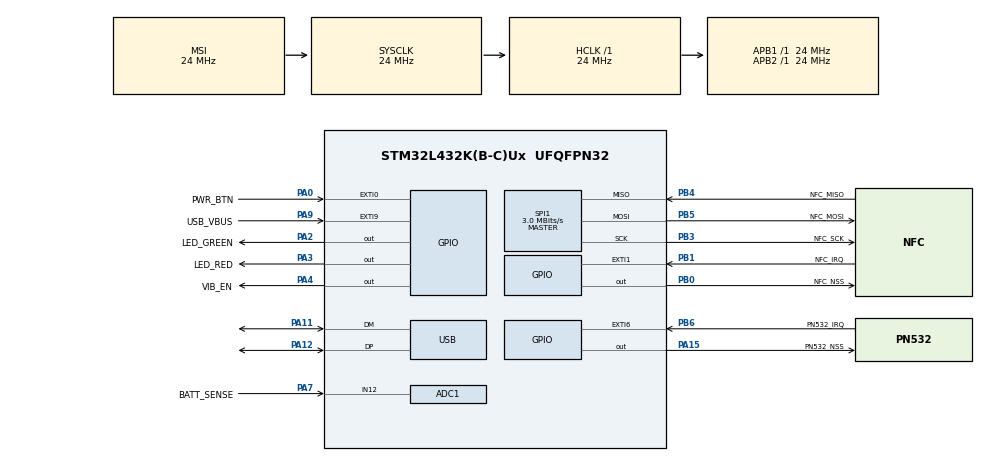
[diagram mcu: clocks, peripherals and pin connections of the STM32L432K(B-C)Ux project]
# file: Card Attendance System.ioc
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ADC1.Channel-0\#ChannelRegularConversion=ADC_CHANNEL_12
ADC1.ClockPrescaler=ADC_CLOCK_SYNC_PCLK_DIV4
ADC1.NbrOfConversion=1
ADC1.OffsetNumber-0\#ChannelRegularConversion=ADC_OFFSET_NONE
ADC1.Rank-0\#ChannelRegularConversion=1
ADC1.Resolution=ADC_RESOLUTION_12B
ADC1.SamplingTime-0\#ChannelRegularConversion=ADC_SAMPLETIME_640CYCLES_5
ADC1.master=1
LPTIM1.ClockPrescaler=LPTIM_PRESCALER_DIV8
LPTIM2.ClockPrescaler=LPTIM_PRESCALER_DIV1
Mcu.Family=STM32L4
Mcu.Name=STM32L432K(B-C)Ux
Mcu.Package=UFQFPN32
NVIC.EXTI0_IRQn=true\:7\:0\:false\:false\:false\:false\:false\:false
NVIC.EXTI1_IRQn=true\:7\:0\:false\:false\:false\:false\:false\:false
NVIC.EXTI9_5_IRQn=true\:7\:0\:false\:false\:false\:false\:false\:false
NVIC.LPTIM1_IRQn=true\:6\:0\:false\:false\:false\:false\:false\:false
NVIC.LPTIM2_IRQn=true\:6\:0\:false\:false\:false\:false\:false\:false
NVIC.PVD_PVM_IRQn=true\:4\:0\:false\:false\:false\:false\:false\:false
NVIC.PriorityGroup=NVIC_PRIORITYGROUP_4
PA0.GPIO_Label=PWR_BTN
PA0.GPIO_ModeDefaultEXTI=GPIO_MODE_IT_FALLING
PA0.GPIO_PuPd=GPIO_PULLUP
PA0.Signal=GPXTI0
PA11.Mode=Device
PA11.Signal=USB_DM
PA12.Mode=Device
PA12.Signal=USB_DP
PA13\ (JTMS-SWDIO).Mode=Serial_Wire
PA13\ (JTMS-SWDIO).Signal=SYS_JTMS-SWDIO
PA14\ (JTCK-SWCLK).Mode=Serial_Wire
PA14\ (JTCK-SWCLK).Signal=SYS_JTCK-SWCLK
PA15\ (JTDI).GPIO_Label=PN532_NSS
PA15\ (JTDI).PinState=GPIO_PIN_SET
PA15\ (JTDI).Signal=GPIO_Output
PA2.GPIO_Label=LED_GREEN
PA2.Signal=GPIO_Output
PA3.GPIO_Label=LED_RED
PA3.Signal=GPIO_Output
PA4.GPIO_Label=VIB_EN
PA4.Signal=GPIO_Output
PA7.GPIO_Label=BATT_SENSE
PA7.Signal=ADCx_IN12
PA9.GPIO_Label=USB_VBUS
PA9.GPIO_ModeDefaultEXTI=GPIO_MODE_IT_RISING_FALLING
PA9.GPIO_PuPd=GPIO_NOPULL
PA9.Signal=GPXTI9
PB0.GPIO_Label=NFC_NSS
PB0.PinState=GPIO_PIN_SET
PB0.Signal=GPIO_Output
PB1.GPIO_Label=NFC_IRQ
PB1.GPIO_ModeDefaultEXTI=GPIO_MODE_IT_RISING
PB1.GPIO_PuPd=GPIO_PULLDOWN
PB1.Signal=GPXTI1
PB3\ (JTDO-TRACESWO).GPIO_Label=NFC_SCK
PB3\ (JTDO-TRACESWO).Mode=Full_Duplex_Master
PB3\ (JTDO-TRACESWO).Signal=SPI1_SCK
PB4\ (NJTRST).GPIO_Label=NFC_MISO
PB4\ (NJTRST).GPIO_PuPd=GPIO_PULLDOWN
PB4\ (NJTRST).Mode=Full_Duplex_Master
PB4\ (NJTRST).Signal=SPI1_MISO
PB5.GPIO_Label=NFC_MOSI
PB5.Mode=Full_Duplex_Master
PB5.Signal=SPI1_MOSI
PB6.GPIO_Label=PN532_IRQ
PB6.GPIO_ModeDefaultEXTI=GPIO_MODE_IT_FALLING
PB6.GPIO_PuPd=GPIO_PULLUP
PB6.Signal=GPXTI6
PB7.GPIO_Label=PVD_IN
PB7.Mode=Mode_PVD_Ext
PB7.Signal=SYS_PVD_IN
PC14-OSC32_IN\ (PC14).Mode=LSE-External-Oscillator
PC14-OSC32_IN\ (PC14).Signal=RCC_OSC32_IN
PC15-OSC32_OUT\ (PC15).Mode=LSE-External-Oscillator
PC15-OSC32_OUT\ (PC15).Signal=RCC_OSC32_OUT
ProjectManager.HeapSize=0x200
ProjectManager.StackSize=0x400
ProjectManager.TargetToolchain=STM32CubeIDE
RCC.ADCCLockSelection=RCC_ADCCLKSOURCE_SYSCLK
RCC.ADCFreq_Value=24000000
RCC.AHBFreq_Value=24000000
RCC.APB1Freq_Value=24000000
RCC.APB1TimFreq_Value=24000000
RCC.APB2Freq_Value=24000000
RCC.APB2TimFreq_Value=24000000
RCC.CK48CLockSelection=RCC_USBCLKSOURCE_HSI48
RCC.CortexFreq_Value=24000000
RCC.HCLKFreq_Value=24000000
RCC.HSE_VALUE=8000000
RCC.HSI48_VALUE=48000000
RCC.HSI_VALUE=16000000
RCC.LPTIM1CLockSelection=RCC_LPTIM1CLKSOURCE_LSE
RCC.LPTIM2CLockSelection=RCC_LPTIM2CLKSOURCE_LSE
RCC.MSIClockRange=RCC_MSIRANGE_9
RCC.MSI_VALUE=24000000
RCC.PLLN=40
RCC.PLLSAI1N=24
RCC.RTCClockSelection=RCC_RTCCLKSOURCE_LSE
RCC.SYSCLKFreq_VALUE=24000000
RCC.SYSCLKSource=RCC_SYSCLKSOURCE_MSI
RCC.USBFreq_Value=48000000
RCC.VCOOutputFreq_Value=960000000
RTC.AsynchPrediv=127
RTC.HourFormat=RTC_HOURFORMAT_24
RTC.SynchPrediv=255
SH.ADCx_IN12.0=ADC1_IN12,IN12-Single-Ended
SPI1.BaudRatePrescaler=SPI_BAUDRATEPRESCALER_8
SPI1.CLKPhase=SPI_PHASE_2EDGE
SPI1.CLKPolarity=SPI_POLARITY_LOW
SPI1.CRCCalculation=SPI_CRCCALCULATION_DISABLE
SPI1.CalculateBaudRate=3.0 MBits/s
SPI1.DataSize=SPI_DATASIZE_8BIT
SPI1.Direction=SPI_DIRECTION_2LINES
SPI1.FirstBit=SPI_FIRSTBIT_MSB
SPI1.Mode=SPI_MODE_MASTER
SPI1.TIMode=SPI_TIMODE_DISABLE
SPI1.VirtualNSS=VM_NSSSOFT
SPI1.VirtualType=VM_MASTER
SYS.Mode=PWR_PVD_MODE_IT_RISING
TIM1.Period=31
TIM1.Prescaler=0
TIM2.Period=4294967295
TIM2.Prescaler=3
USB.DeviceSpeed=PCD_SPEED_FULL
USB.Sof_enable=DISABLE
USB.battery_charging_enable=DISABLE
USB.low_power_enable=DISABLE
USB.lpm_enable=DISABLE
VP_ADC1_Vref_Input.Mode=IN-Vrefint
VP_LPTIM1_VS_LPTIM_counterModeInternalClock.Mode=Counts__internal_clock_event_00
VP_LPTIM2_VS_LPTIM_counterModeInternalClock.Mode=Counts__internal_clock_event_00
VP_RTC_VS_RTC_Activate.Mode=RTC_Enabled
VP_RTC_VS_RTC_Calendar.Mode=RTC_Calendar
VP_TIM1_VS_ClockSourceINT.Mode=Internal
VP_TIM2_VS_ClockSourceINT.Mode=Internal
board=custom

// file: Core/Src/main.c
/* USER CODE BEGIN Header */
/**
  ******************************************************************************
  * @file           : main.c
  * @brief          : Main program body
  ******************************************************************************
  * @attention
  *
  * Copyright (c) 2026 STMicroelectronics.
  * All rights reserved.
  *
  * This software is licensed under terms that can be found in the LICENSE file
  * in the root directory of this software component.
  * If no LICENSE file comes with this software, it is provided AS-IS.
  *
  ******************************************************************************
  */
/* USER CODE END Header */
#include "main.h"

/* USER CODE BEGIN Includes */
#include "bsp.h"
#include "app_fsm.h"
#include "app_debug.h"
/* USER CODE END Includes */

ADC_HandleTypeDef hadc1;

LPTIM_HandleTypeDef hlptim1;
LPTIM_HandleTypeDef hlptim2;

RTC_HandleTypeDef hrtc;

SPI_HandleTypeDef hspi1;

TIM_HandleTypeDef htim1;
TIM_HandleTypeDef htim2;

PCD_HandleTypeDef hpcd_USB_FS;

/* USER CODE BEGIN PV */

/* Global, volatile state for STM32CubeIDE Live Expressions. Declared in
 * App/Inc/app_debug.h, which documents each one; written by the application
 * (and the reader driver) every pass of the main loop. */

/* Battery */
volatile uint32_t dbg_battery_mv = 0u;
volatile uint8_t  dbg_battery_state = 0u;
volatile uint16_t dbg_battery_counts = 0u;
volatile uint32_t dbg_battery_samples = 0u;
volatile uint8_t  dbg_battery_error = 0u;
volatile uint32_t dbg_battery_raw_mv = 0u;
volatile uint32_t dbg_vdda_mv = 0u;
volatile uint16_t dbg_vrefint_counts = 0u;
volatile uint16_t dbg_vrefint_cal = 0u;
volatile uint8_t  dbg_adc_error = 0u;

/* Last card */
volatile uint32_t dbg_card_id = 0u;
volatile uint8_t  dbg_card_uid[10] = { 0u };
volatile uint8_t  dbg_card_uid_len = 0u;
volatile uint8_t  dbg_card_atqa[2] = { 0u };
volatile uint8_t  dbg_card_sak = 0u;
volatile uint32_t dbg_card_count = 0u;
volatile uint8_t  dbg_scan_result = 0u;

/* Button */
volatile bool     dbg_button_down = false;
volatile uint32_t dbg_button_short_count = 0u;
volatile uint32_t dbg_button_long_count = 0u;

/* Reader */
volatile bool     dbg_nfc_ready = false;
volatile uint8_t  dbg_nfc_chip_id = 0u;
volatile bool     dbg_nfc_supply_3v3 = false;
volatile uint8_t  dbg_nfc_amplitude = 0u;
volatile uint8_t  dbg_nfc_last_status = 0u;
volatile uint32_t dbg_nfc_polls = 0u;
volatile uint32_t dbg_nfc_errors = 0u;
volatile uint32_t dbg_nfc_collisions = 0u;
volatile uint32_t dbg_nfc_last_irq = 0u;
volatile uint32_t dbg_nfc_irq_pin_misses = 0u;
volatile bool     dbg_nfc_armed = false;
volatile uint32_t dbg_nfc_wakeups = 0u;
volatile uint32_t dbg_nfc_false_wakes = 0u;
volatile uint8_t  dbg_nfc_wake_raw = 0u;
volatile uint32_t dbg_nfc_wake_irq = 0u;
volatile int16_t  dbg_nfc_wake_offset = 0;
volatile uint8_t  dbg_nfc_wake_delta = 0u;

/* System */
volatile uint8_t  dbg_state = 0u;
volatile uint8_t  dbg_boot_cause = 0u;
volatile uint32_t dbg_uptime_ms = 0u;
volatile uint32_t dbg_sleep_ms = 0u;
volatile uint8_t  dbg_lptim_fault = 0u;
volatile uint8_t  dbg_pempty_cleared = 0u;
volatile bool     dbg_vbus = false;
volatile bool     dbg_usb_host = false;
volatile uint32_t dbg_records_ram = 0u;
volatile uint32_t dbg_records_flash = 0u;
volatile uint32_t dbg_records_free = 0u;
volatile uint8_t  dbg_battery_percent = 0u;
volatile app_datetime_t dbg_now = { 0u, 0u, 0u, 0u, 0u, 0u };

/* Written from the debugger to set the RTC */
volatile app_datetime_t dbg_set_time = { 0u, 0u, 0u, 0u, 0u, 0u };
volatile bool     dbg_set_time_request = false;

/* USER CODE END PV */

void SystemClock_Config(void);
static void MX_GPIO_Init(void);
static void MX_LPTIM1_Init(void);
static void MX_LPTIM2_Init(void);
static void MX_RTC_Init(void);
static void MX_USB_PCD_Init(void);
static void MX_ADC1_Init(void);
static void MX_SPI1_Init(void);
static void MX_TIM1_Init(void);
static void MX_TIM2_Init(void);

int main(void)
{

  /* USER CODE BEGIN 1 */
  /* Before anything can interrupt: own the vector table and clear a stale
   * "flash is empty" flag. See bsp_early_init(). */
  bsp_early_init();
  /* USER CODE END 1 */

  /* MCU Configuration--------------------------------------------------------*/

  /* Reset of all peripherals, Initializes the Flash interface and the Systick. */
  HAL_Init();

  /* Configure the system clock */
  SystemClock_Config();

  /* Initialize all configured peripherals */
  MX_GPIO_Init();
  MX_LPTIM1_Init();
  MX_LPTIM2_Init();
  MX_RTC_Init();
  MX_USB_PCD_Init();
  MX_ADC1_Init();
  MX_SPI1_Init();
  MX_TIM1_Init();
  MX_TIM2_Init();
  /* USER CODE BEGIN 2 */

  /* Level 1: clocks, pins, RTC, ADC, power. Everything is polled from the
   * main loop; only SysTick and USB interrupt. */
  bsp_init();

#if BSP_POWER_TEST
  /* Bench build: steady loads for a multimeter, no application. */
  bsp_power_test();
#endif

  /* Level 2: the flow chart's "Start" through to the first card poll. */
  app_init();

  /* USER CODE END 2 */

  /* Infinite loop */
  while (1)
  {

    /* USER CODE BEGIN 3 */

    /* One pass: sample the inputs, run the reader, the timers and the
     * feedback pattern, then sleep until the next deadline (Stop 2 when idle
     * on battery). The reader, button, VBUS, USB and LPTIM1 interrupts end
     * the sleep early. */
    app_task();
  }
  /* USER CODE END 3 */
}

void SystemClock_Config(void)
{
  RCC_OscInitTypeDef RCC_OscInitStruct = {0};
  RCC_ClkInitTypeDef RCC_ClkInitStruct = {0};

  /** Configure the main internal regulator output voltage
  */
  if (HAL_PWREx_ControlVoltageScaling(PWR_REGULATOR_VOLTAGE_SCALE1) != HAL_OK)
  {
    Error_Handler();
  }

  /** Configure LSE Drive Capability
  */
  HAL_PWR_EnableBkUpAccess();
  __HAL_RCC_LSEDRIVE_CONFIG(RCC_LSEDRIVE_LOW);

  /** Initializes the RCC Oscillators according to the specified parameters
  * in the RCC_OscInitTypeDef structure.
  */
  RCC_OscInitStruct.OscillatorType = RCC_OSCILLATORTYPE_HSI48|RCC_OSCILLATORTYPE_LSE
                              |RCC_OSCILLATORTYPE_MSI;
  RCC_OscInitStruct.LSEState = RCC_LSE_ON;
  RCC_OscInitStruct.HSI48State = RCC_HSI48_ON;
  RCC_OscInitStruct.MSIState = RCC_MSI_ON;
  RCC_OscInitStruct.MSICalibrationValue = 0;
  RCC_OscInitStruct.MSIClockRange = RCC_MSIRANGE_9;
  RCC_OscInitStruct.PLL.PLLState = RCC_PLL_NONE;
  if (HAL_RCC_OscConfig(&RCC_OscInitStruct) != HAL_OK)
  {
    Error_Handler();
  }

  /** Initializes the CPU, AHB and APB buses clocks
  */
  RCC_ClkInitStruct.ClockType = RCC_CLOCKTYPE_HCLK|RCC_CLOCKTYPE_SYSCLK
                              |RCC_CLOCKTYPE_PCLK1|RCC_CLOCKTYPE_PCLK2;
  RCC_ClkInitStruct.SYSCLKSource = RCC_SYSCLKSOURCE_MSI;
  RCC_ClkInitStruct.AHBCLKDivider = RCC_SYSCLK_DIV1;
  RCC_ClkInitStruct.APB1CLKDivider = RCC_HCLK_DIV1;
  RCC_ClkInitStruct.APB2CLKDivider = RCC_HCLK_DIV1;

  if (HAL_RCC_ClockConfig(&RCC_ClkInitStruct, FLASH_LATENCY_1) != HAL_OK)
  {
    Error_Handler();
  }

  /** Enable MSI Auto calibration
  */
  HAL_RCCEx_EnableMSIPLLMode();
}

static void MX_ADC1_Init(void)
{

  ADC_ChannelConfTypeDef sConfig = {0};

  /** Common config
  */
  hadc1.Instance = ADC1;
  hadc1.Init.ClockPrescaler = ADC_CLOCK_SYNC_PCLK_DIV4;
  hadc1.Init.Resolution = ADC_RESOLUTION_12B;
  hadc1.Init.DataAlign = ADC_DATAALIGN_RIGHT;
  hadc1.Init.ScanConvMode = ADC_SCAN_DISABLE;
  hadc1.Init.EOCSelection = ADC_EOC_SINGLE_CONV;
  hadc1.Init.LowPowerAutoWait = DISABLE;
  hadc1.Init.ContinuousConvMode = DISABLE;
  hadc1.Init.NbrOfConversion = 1;
  hadc1.Init.DiscontinuousConvMode = DISABLE;
  hadc1.Init.ExternalTrigConv = ADC_SOFTWARE_START;
  hadc1.Init.ExternalTrigConvEdge = ADC_EXTERNALTRIGCONVEDGE_NONE;
  hadc1.Init.DMAContinuousRequests = DISABLE;
  hadc1.Init.Overrun = ADC_OVR_DATA_PRESERVED;
  hadc1.Init.OversamplingMode = DISABLE;
  if (HAL_ADC_Init(&hadc1) != HAL_OK)
  {
    Error_Handler();
  }

  /** Configure Regular Channel
  */
  sConfig.Channel = ADC_CHANNEL_12;
  sConfig.Rank = ADC_REGULAR_RANK_1;
  sConfig.SamplingTime = ADC_SAMPLETIME_640CYCLES_5;
  sConfig.SingleDiff = ADC_SINGLE_ENDED;
  sConfig.OffsetNumber = ADC_OFFSET_NONE;
  sConfig.Offset = 0;
  if (HAL_ADC_ConfigChannel(&hadc1, &sConfig) != HAL_OK)
  {
    Error_Handler();
  }

}

static void MX_LPTIM1_Init(void)
{

  hlptim1.Instance = LPTIM1;
  hlptim1.Init.Clock.Source = LPTIM_CLOCKSOURCE_APBCLOCK_LPOSC;
  hlptim1.Init.Clock.Prescaler = LPTIM_PRESCALER_DIV8;
  hlptim1.Init.Trigger.Source = LPTIM_TRIGSOURCE_SOFTWARE;
  hlptim1.Init.OutputPolarity = LPTIM_OUTPUTPOLARITY_HIGH;
  hlptim1.Init.UpdateMode = LPTIM_UPDATE_IMMEDIATE;
  hlptim1.Init.CounterSource = LPTIM_COUNTERSOURCE_INTERNAL;
  hlptim1.Init.Input1Source = LPTIM_INPUT1SOURCE_GPIO;
  hlptim1.Init.Input2Source = LPTIM_INPUT2SOURCE_GPIO;
  if (HAL_LPTIM_Init(&hlptim1) != HAL_OK)
  {
    Error_Handler();
  }

}

static void MX_LPTIM2_Init(void)
{

  hlptim2.Instance = LPTIM2;
  hlptim2.Init.Clock.Source = LPTIM_CLOCKSOURCE_APBCLOCK_LPOSC;
  hlptim2.Init.Clock.Prescaler = LPTIM_PRESCALER_DIV1;
  hlptim2.Init.Trigger.Source = LPTIM_TRIGSOURCE_SOFTWARE;
  hlptim2.Init.OutputPolarity = LPTIM_OUTPUTPOLARITY_HIGH;
  hlptim2.Init.UpdateMode = LPTIM_UPDATE_IMMEDIATE;
  hlptim2.Init.CounterSource = LPTIM_COUNTERSOURCE_INTERNAL;
  hlptim2.Init.Input1Source = LPTIM_INPUT1SOURCE_GPIO;
  hlptim2.Init.Input2Source = LPTIM_INPUT2SOURCE_GPIO;
  if (HAL_LPTIM_Init(&hlptim2) != HAL_OK)
  {
    Error_Handler();
  }

}

static void MX_RTC_Init(void)
{

  RTC_TimeTypeDef sTime = {0};
  RTC_DateTypeDef sDate = {0};

  /** Initialize RTC Only
  */
  hrtc.Instance = RTC;
  hrtc.Init.HourFormat = RTC_HOURFORMAT_24;
  hrtc.Init.AsynchPrediv = 127;
  hrtc.Init.SynchPrediv = 255;
  hrtc.Init.OutPut = RTC_OUTPUT_DISABLE;
  hrtc.Init.OutPutRemap = RTC_OUTPUT_REMAP_NONE;
  hrtc.Init.OutPutPolarity = RTC_OUTPUT_POLARITY_HIGH;
  hrtc.Init.OutPutType = RTC_OUTPUT_TYPE_OPENDRAIN;
  if (HAL_RTC_Init(&hrtc) != HAL_OK)
  {
    Error_Handler();
  }

  /* USER CODE BEGIN Check_RTC_BKUP */

  /* The calendar runs on through Standby and resets. Once it has been set,
   * the code below would put it back to 2000-01-01 on every boot. */
  if (HAL_RTCEx_BKUPRead(&hrtc, BSP_BKP_RTC_VALID) == BSP_BKP_RTC_MAGIC)
  {
    return;
  }

  /* USER CODE END Check_RTC_BKUP */

  /** Initialize RTC and set the Time and Date
  */
  sTime.Hours = 0x0;
  sTime.Minutes = 0x0;
  sTime.Seconds = 0x0;
  sTime.DayLightSaving = RTC_DAYLIGHTSAVING_NONE;
  sTime.StoreOperation = RTC_STOREOPERATION_RESET;
  if (HAL_RTC_SetTime(&hrtc, &sTime, RTC_FORMAT_BCD) != HAL_OK)
  {
    Error_Handler();
  }
  sDate.WeekDay = RTC_WEEKDAY_MONDAY;
  sDate.Month = RTC_MONTH_JANUARY;
  sDate.Date = 0x1;
  sDate.Year = 0x0;

  if (HAL_RTC_SetDate(&hrtc, &sDate, RTC_FORMAT_BCD) != HAL_OK)
  {
    Error_Handler();
  }

}

static void MX_SPI1_Init(void)
{

  /* SPI1 parameter configuration*/
  hspi1.Instance = SPI1;
  hspi1.Init.Mode = SPI_MODE_MASTER;
  hspi1.Init.Direction = SPI_DIRECTION_2LINES;
  hspi1.Init.DataSize = SPI_DATASIZE_8BIT;
  hspi1.Init.CLKPolarity = SPI_POLARITY_LOW;
  hspi1.Init.CLKPhase = SPI_PHASE_2EDGE;
  hspi1.Init.NSS = SPI_NSS_SOFT;
  hspi1.Init.BaudRatePrescaler = SPI_BAUDRATEPRESCALER_8;
  hspi1.Init.FirstBit = SPI_FIRSTBIT_MSB;
  hspi1.Init.TIMode = SPI_TIMODE_DISABLE;
  hspi1.Init.CRCCalculation = SPI_CRCCALCULATION_DISABLE;
  hspi1.Init.CRCPolynomial = 7;
  hspi1.Init.CRCLength = SPI_CRC_LENGTH_DATASIZE;
  hspi1.Init.NSSPMode = SPI_NSS_PULSE_DISABLE;
  if (HAL_SPI_Init(&hspi1) != HAL_OK)
  {
    Error_Handler();
  }

}

static void MX_TIM1_Init(void)
{

  TIM_ClockConfigTypeDef sClockSourceConfig = {0};
  TIM_MasterConfigTypeDef sMasterConfig = {0};

  htim1.Instance = TIM1;
  htim1.Init.Prescaler = 0;
  htim1.Init.CounterMode = TIM_COUNTERMODE_UP;
  htim1.Init.Period = 31;
  htim1.Init.ClockDivision = TIM_CLOCKDIVISION_DIV1;
  htim1.Init.RepetitionCounter = 0;
  htim1.Init.AutoReloadPreload = TIM_AUTORELOAD_PRELOAD_DISABLE;
  if (HAL_TIM_Base_Init(&htim1) != HAL_OK)
  {
    Error_Handler();
  }
  sClockSourceConfig.ClockSource = TIM_CLOCKSOURCE_INTERNAL;
  if (HAL_TIM_ConfigClockSource(&htim1, &sClockSourceConfig) != HAL_OK)
  {
    Error_Handler();
  }
  sMasterConfig.MasterOutputTrigger = TIM_TRGO_RESET;
  sMasterConfig.MasterOutputTrigger2 = TIM_TRGO2_RESET;
  sMasterConfig.MasterSlaveMode = TIM_MASTERSLAVEMODE_DISABLE;
  if (HAL_TIMEx_MasterConfigSynchronization(&htim1, &sMasterConfig) != HAL_OK)
  {
    Error_Handler();
  }

}

static void MX_TIM2_Init(void)
{

  TIM_ClockConfigTypeDef sClockSourceConfig = {0};
  TIM_MasterConfigTypeDef sMasterConfig = {0};

  htim2.Instance = TIM2;
  htim2.Init.Prescaler = 3;
  htim2.Init.CounterMode = TIM_COUNTERMODE_UP;
  htim2.Init.Period = 4294967295;
  htim2.Init.ClockDivision = TIM_CLOCKDIVISION_DIV1;
  htim2.Init.AutoReloadPreload = TIM_AUTORELOAD_PRELOAD_DISABLE;
  if (HAL_TIM_Base_Init(&htim2) != HAL_OK)
  {
    Error_Handler();
  }
  sClockSourceConfig.ClockSource = TIM_CLOCKSOURCE_INTERNAL;
  if (HAL_TIM_ConfigClockSource(&htim2, &sClockSourceConfig) != HAL_OK)
  {
    Error_Handler();
  }
  sMasterConfig.MasterOutputTrigger = TIM_TRGO_RESET;
  sMasterConfig.MasterSlaveMode = TIM_MASTERSLAVEMODE_DISABLE;
  if (HAL_TIMEx_MasterConfigSynchronization(&htim2, &sMasterConfig) != HAL_OK)
  {
    Error_Handler();
  }

}

static void MX_USB_PCD_Init(void)
{

  hpcd_USB_FS.Instance = USB;
  hpcd_USB_FS.Init.dev_endpoints = 8;
  hpcd_USB_FS.Init.speed = PCD_SPEED_FULL;
  hpcd_USB_FS.Init.phy_itface = PCD_PHY_EMBEDDED;
  hpcd_USB_FS.Init.Sof_enable = DISABLE;
  hpcd_USB_FS.Init.low_power_enable = DISABLE;
  hpcd_USB_FS.Init.lpm_enable = DISABLE;
  hpcd_USB_FS.Init.battery_charging_enable = DISABLE;
  if (HAL_PCD_Init(&hpcd_USB_FS) != HAL_OK)
  {
    Error_Handler();
  }

}

static void MX_GPIO_Init(void)
{
  GPIO_InitTypeDef GPIO_InitStruct = {0};

  /* GPIO Ports Clock Enable */
  __HAL_RCC_GPIOC_CLK_ENABLE();
  __HAL_RCC_GPIOA_CLK_ENABLE();
  __HAL_RCC_GPIOB_CLK_ENABLE();

  /*Configure GPIO pin Output Level */
  HAL_GPIO_WritePin(GPIOA, LED_GREEN_Pin|LED_RED_Pin|VIB_EN_Pin, GPIO_PIN_RESET);

  /*Configure GPIO pin Output Level */
  HAL_GPIO_WritePin(NFC_NSS_GPIO_Port, NFC_NSS_Pin, GPIO_PIN_SET);

  /*Configure GPIO pin Output Level */
  HAL_GPIO_WritePin(PN532_NSS_GPIO_Port, PN532_NSS_Pin, GPIO_PIN_SET);

  /*Configure GPIO pin : PWR_BTN_Pin */
  GPIO_InitStruct.Pin = PWR_BTN_Pin;
  GPIO_InitStruct.Mode = GPIO_MODE_IT_FALLING;
  GPIO_InitStruct.Pull = GPIO_PULLUP;
  HAL_GPIO_Init(PWR_BTN_GPIO_Port, &GPIO_InitStruct);

  /*Configure GPIO pins : LED_GREEN_Pin LED_RED_Pin VIB_EN_Pin PN532_NSS_Pin */
  GPIO_InitStruct.Pin = LED_GREEN_Pin|LED_RED_Pin|VIB_EN_Pin|PN532_NSS_Pin;
  GPIO_InitStruct.Mode = GPIO_MODE_OUTPUT_PP;
  GPIO_InitStruct.Pull = GPIO_NOPULL;
  GPIO_InitStruct.Speed = GPIO_SPEED_FREQ_LOW;
  HAL_GPIO_Init(GPIOA, &GPIO_InitStruct);

  /*Configure GPIO pin : NFC_NSS_Pin */
  GPIO_InitStruct.Pin = NFC_NSS_Pin;
  GPIO_InitStruct.Mode = GPIO_MODE_OUTPUT_PP;
  GPIO_InitStruct.Pull = GPIO_NOPULL;
  GPIO_InitStruct.Speed = GPIO_SPEED_FREQ_LOW;
  HAL_GPIO_Init(NFC_NSS_GPIO_Port, &GPIO_InitStruct);

  /*Configure GPIO pin : NFC_IRQ_Pin */
  GPIO_InitStruct.Pin = NFC_IRQ_Pin;
  GPIO_InitStruct.Mode = GPIO_MODE_IT_RISING;
  GPIO_InitStruct.Pull = GPIO_PULLDOWN;
  HAL_GPIO_Init(NFC_IRQ_GPIO_Port, &GPIO_InitStruct);

  /*Configure GPIO pin : USB_VBUS_Pin */
  GPIO_InitStruct.Pin = USB_VBUS_Pin;
  GPIO_InitStruct.Mode = GPIO_MODE_IT_RISING_FALLING;
  GPIO_InitStruct.Pull = GPIO_NOPULL;
  HAL_GPIO_Init(USB_VBUS_GPIO_Port, &GPIO_InitStruct);

  /*Configure GPIO pin : PN532_IRQ_Pin */
  GPIO_InitStruct.Pin = PN532_IRQ_Pin;
  GPIO_InitStruct.Mode = GPIO_MODE_IT_FALLING;
  GPIO_InitStruct.Pull = GPIO_PULLUP;
  HAL_GPIO_Init(PN532_IRQ_GPIO_Port, &GPIO_InitStruct);

  /*Configure GPIO pin : PVD_IN_Pin */
  GPIO_InitStruct.Pin = PVD_IN_Pin;
  GPIO_InitStruct.Mode = GPIO_MODE_ANALOG;
  GPIO_InitStruct.Pull = GPIO_NOPULL;
  HAL_GPIO_Init(PVD_IN_GPIO_Port, &GPIO_InitStruct);

  /* EXTI interrupt init*/
  HAL_NVIC_SetPriority(EXTI0_IRQn, 7, 0);
  HAL_NVIC_SetPriority(EXTI1_IRQn, 7, 0);
  HAL_NVIC_SetPriority(EXTI9_5_IRQn, 7, 0);

}

void Error_Handler(void)
{
  /* USER CODE BEGIN Error_Handler_Debug */
  /* A HAL call failed, almost always during start-up: most likely the
   * 32 kHz crystal did not start in time. Say so with a fast red blink rather
   * than a silent, dead-looking unit. Registers only, since the GPIO may not
   * be set up yet; SWD (PA13/PA14) is left alone so a debugger can attach. */
  __disable_irq();
  RCC->AHB2ENR |= RCC_AHB2ENR_GPIOAEN;
  (void)RCC->AHB2ENR;
  LED_GREEN_GPIO_Port->BSRR = (uint32_t)LED_GREEN_Pin << 16;
  {
    const uint32_t pos = (uint32_t)__builtin_ctz(LED_RED_Pin);

    LED_RED_GPIO_Port->MODER = (LED_RED_GPIO_Port->MODER & ~(3u << (pos * 2u))) | (1u << (pos * 2u));
  }
  while (1)
  {
    volatile uint32_t i;

    LED_RED_GPIO_Port->ODR ^= LED_RED_Pin;
    for (i = 0u; i < 100000u; i++)
    {
    }
  }
  /* USER CODE END Error_Handler_Debug */
}
